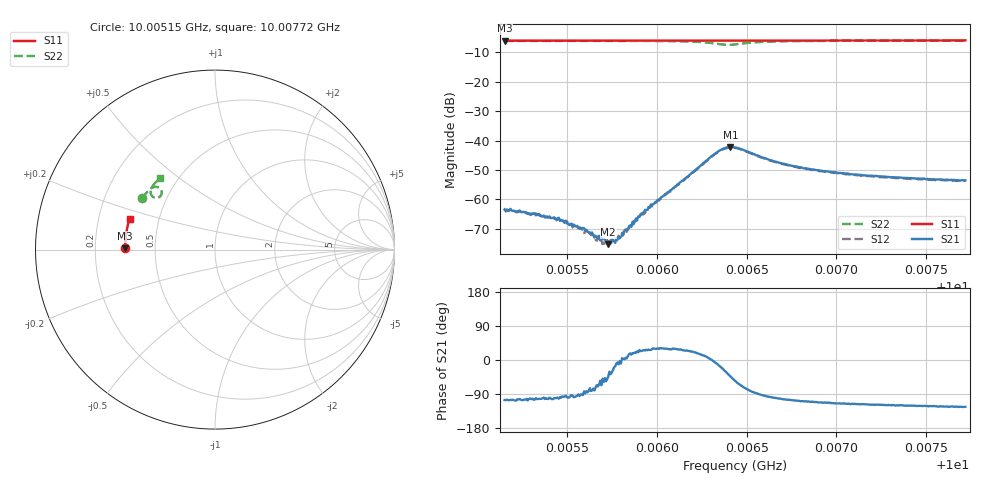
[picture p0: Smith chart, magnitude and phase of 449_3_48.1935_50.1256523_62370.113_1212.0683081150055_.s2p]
#  HZ  S  RI  R  50.00
! Rohde & Schwarz Vector Network Analyzer
! Rohde-Schwarz,ZNB20-2Port,1311601062101988,3.16
! Created: UTC 3/20/2024, 11:56:10 AM
! freq[Hz]  re:S11  im:S11  re:S21  im:S21  re:S12  im:S12  re:S22  im:S22
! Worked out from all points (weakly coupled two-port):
!   401 points, 10.00515 GHz to 10.00772 GHz, reference 50 ohm
!   highest |S21| = -42.20 dB at 10.00641 GHz (marker M1); lowest = -75.4 dB at 10.00573 GHz (marker M2)
!   lowest |S11| = -6.0 dB at 10.00515 GHz (marker M3), VSWR 3.00, Z = 16.7 + j0.312 ohm
!   |S11| at or under -10 dB: nowhere
!   |S22| runs from -7.4 to -6.0 dB; largest |S21 - S12| = 0.00047
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1.000515e10  -0.5003 0.00702  -0.000181 -0.00065  -0.000158 -0.000651  -0.4041 0.2861
1.00054e10  -0.5003 0.0233  -8.33e-05 -0.000505  -9.36e-05 -0.000479  -0.3941 0.3009
1.0005439e10  -0.5003 0.0259  -8.48e-05 -0.00046  -3.7e-05 -0.000438  -0.3924 0.3032
1.0005503e10  -0.5002 0.0299  -6.37e-05 -0.000382  -2.18e-05 -0.000399  -0.3897 0.3071
1.0005529e10  -0.5002 0.0316  -2.66e-05 -0.00035  -1.06e-05 -0.000333  -0.3884 0.3087
1.0005568e10  -0.5 0.0341  -2.93e-05 -0.000331  -3.7e-06 -0.000316  -0.3868 0.3109
1.000558e10  -0.4999 0.0349  -3.03e-06 -0.000325  1.71e-05 -0.000314  -0.3861 0.3116
1.0005613e10  -0.4998 0.0371  2.34e-05 -0.000279  3.76e-05 -0.00028  -0.3846 0.3137
1.0005657e10  -0.4997 0.0399  7.36e-05 -0.000229  6.12e-05 -0.000197  -0.3822 0.3165
1.0005702e10  -0.4995 0.0431  0.000112 -0.00018  9.92e-05 -0.000154  -0.38 0.3194
1.0005728e10  -0.4994 0.0444  0.000124 -0.000117  0.000141 -0.000125  -0.3787 0.3208
1.0005786e10  -0.4993 0.0483  0.00021 -4.26e-05  0.000241 -1.49e-05  -0.3755 0.3246
1.0005921e10  -0.4987 0.0571  0.000534 0.000251  0.000485 0.000259  -0.3666 0.3333
1.0006011e10  -0.4979 0.0629  0.000873 0.000488  0.000808 0.000509  -0.359 0.3393
1.0006313e10  -0.4953 0.0823  0.00565 -0.000241  0.00555 4.13e-05  -0.3031 0.3366
1.0006364e10  -0.4947 0.0854  0.00663 -0.0027  0.00661 -0.00234  -0.2973 0.313
1.0006409e10  -0.4944 0.088  0.00564 -0.00533  0.00581 -0.00489  -0.3103 0.2927
1.0006435e10  -0.4941 0.0895  0.00441 -0.00625  0.00463 -0.00589  -0.323 0.2882
1.0006679e10  -0.4923 0.1052  -0.000832 -0.00412  -0.000666 -0.00408  -0.3578 0.3313
1.0006866e10  -0.4898 0.117  -0.0011 -0.00303  -0.000962 -0.00302  -0.3493 0.351
1.0007296e10  -0.4836 0.1443  -0.00117 -0.00209  -0.00106 -0.00211  -0.3273 0.3786
1.000772e10  -0.4759 0.1704  -0.00116 -0.00175  -0.00107 -0.00175  -0.3056 0.3993
